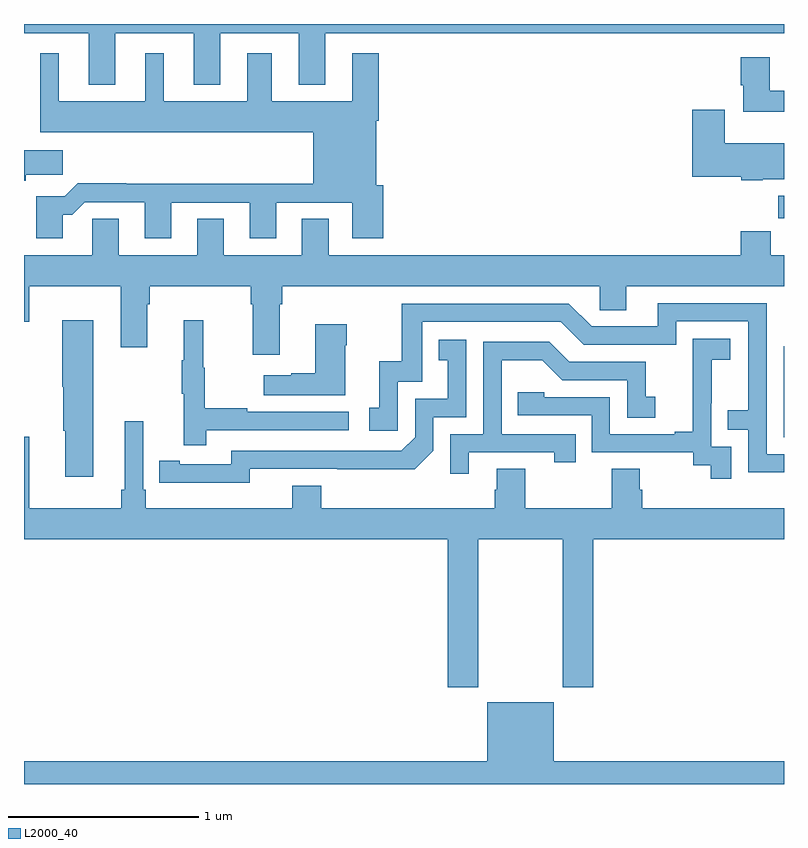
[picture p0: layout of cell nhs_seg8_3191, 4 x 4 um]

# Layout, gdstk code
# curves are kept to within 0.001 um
import gdstk
lib = gdstk.Library(unit=1e-6, precision=1e-09)
def R(c, l, rs):  # rectangles x0, y0, x1, y1
    for r in rs: c.add(gdstk.rectangle(r[:2], r[2:], *l))
def P(c, l, *ps):  # polygons
    for p in ps: c.add(gdstk.Polygon(p, *l))
L2000_40 = (2000, 40)

nhs_seg8_3191 = lib.new_cell('nhs_seg8_3191')
R(nhs_seg8_3191, L2000_40, [(312.999,1095.726,313,1096.203), (312.97,1096.878,313,1096.996)])
P(nhs_seg8_3191, L2000_40, [(309.481,1097.852),(309.893,1097.852),(309.893,1097.579),(310.033,1097.579),(310.033,1097.852),(310.445,1097.852),(310.445,1097.579),(310.585,1097.579),(310.585,1097.852),(313,1097.852),(313,1097.9),(309,1097.9),(309,1097.852),(309.341,1097.852),(309.341,1097.579),(309.481,1097.579)],
  [(309.205,1096.895),(309.254,1096.895),(309.321,1096.962),(309.635,1096.962),(309.635,1096.773),(309.775,1096.773),(309.775,1096.959),(310.187,1096.959),(310.187,1096.773),(310.327,1096.773),(310.327,1096.959),(310.727,1096.959),(310.727,1096.773),(310.892,1096.773),(310.892,1097.052),(310.855,1097.052),(310.855,1097.39),(310.868,1097.39),(310.868,1097.746),(310.727,1097.746),(310.727,1097.494),(310.303,1097.494),(310.303,1097.746),(310.175,1097.746),(310.175,1097.494),(309.736,1097.494),(309.736,1097.746),(309.638,1097.746),(309.638,1097.494),(309.184,1097.494),(309.184,1097.746),(309.086,1097.746),(309.086,1097.33),(310.523,1097.33),(310.523,1097.06),(309.539,1097.06),(309.539,1097.063),(309.284,1097.063),(309.214,1096.993),(309.065,1096.993),(309.065,1096.773),(309.205,1096.773)],
  [(313,1097.548),(312.925,1097.548),(312.925,1097.725),(312.773,1097.725),(312.773,1097.577),(312.785,1097.577),(312.785,1097.438),(313,1097.438)],
  [(312.888,1097.084),(313,1097.084),(313,1097.272),(312.688,1097.272),(312.688,1097.449),(312.518,1097.449),(312.518,1097.096),(312.774,1097.096),(312.774,1097.078),(312.888,1097.078)],
  [(309.01,1097.107),(309.205,1097.107),(309.205,1097.236),(309,1097.236),(309,1097.075),(309.01,1097.075)],
  [(310.345,1096.424),(310.358,1096.424),(310.358,1096.52),(312.03,1096.52),(312.03,1096.393),(312.169,1096.393),(312.169,1096.52),(313,1096.52),(313,1096.684),(312.929,1096.684),(312.929,1096.808),(312.773,1096.808),(312.773,1096.684),(310.603,1096.684),(310.603,1096.874),(310.463,1096.874),(310.463,1096.684),(310.051,1096.684),(310.051,1096.874),(309.911,1096.874),(309.911,1096.684),(309.499,1096.684),(309.499,1096.874),(309.36,1096.874),(309.36,1096.684),(309,1096.684),(309,1096.332),(309.028,1096.332),(309.028,1096.52),(309.509,1096.52),(309.509,1096.2),(309.649,1096.2),(309.649,1096.424),(309.662,1096.424),(309.662,1096.52),(310.193,1096.52),(310.193,1096.424),(310.205,1096.424),(310.205,1096.158),(310.345,1096.158)],
  [(313,1095.636),(312.909,1095.636),(312.909,1096.431),(312.335,1096.431),(312.335,1096.308),(311.988,1096.308),(311.868,1096.428),(310.989,1096.428),(310.989,1096.126),(310.871,1096.126),(310.871,1095.879),(310.818,1095.879),(310.818,1095.759),(310.968,1095.759),(310.968,1096.017),(311.097,1096.017),(311.097,1096.332),(311.826,1096.332),(311.946,1096.212),(312.432,1096.212),(312.432,1096.335),(312.813,1096.335),(312.813,1095.866),(312.703,1095.866),(312.703,1095.765),(312.813,1095.765),(312.813,1095.54),(313,1095.54)],
  [(309.959,1095.762),(310.708,1095.762),(310.708,1095.858),(310.175,1095.858),(310.175,1095.878),(309.952,1095.878),(309.952,1096.092),(309.944,1096.092),(309.944,1096.342),(309.842,1096.342),(309.842,1096.129),(309.831,1096.129),(309.831,1095.955),(309.842,1095.955),(309.842,1095.684),(309.959,1095.684)],
  [(309.364,1096.342),(309.2,1096.342),(309.2,1095.99),(309.206,1095.99),(309.206,1095.759),(309.218,1095.759),(309.218,1095.516),(309.364,1095.516)],
  [(310.69,1096.208),(310.698,1096.208),(310.698,1096.321),(310.532,1096.321),(310.532,1096.061),(310.406,1096.061),(310.406,1096.051),(310.263,1096.051),(310.263,1095.947),(310.69,1095.947)],
  [(312.723,1095.675),(312.618,1095.675),(312.618,1095.905),(312.62,1095.905),(312.62,1096.133),(312.718,1096.133),(312.718,1096.243),(312.52,1096.243),(312.52,1096.037),(312.521,1096.037),(312.521,1095.754),(312.425,1095.754),(312.425,1095.741),(312.084,1095.741),(312.084,1095.936),(311.739,1095.936),(311.739,1095.963),(311.599,1095.963),(311.599,1095.84),(311.988,1095.84),(311.988,1095.645),(312.522,1095.645),(312.522,1095.577),(312.615,1095.577),(312.615,1095.507),(312.723,1095.507)],
  [(310.188,1095.558),(311.056,1095.557),(311.154,1095.654),(311.154,1095.831),(311.328,1095.831),(311.328,1096.237),(311.182,1096.237),(311.182,1096.131),(311.231,1096.131),(311.231,1095.927),(311.058,1095.927),(311.058,1095.726),(310.986,1095.654),(310.092,1095.654),(310.092,1095.582),(309.82,1095.582),(309.82,1095.602),(309.712,1095.602),(309.712,1095.486),(310.188,1095.485)],
  [(311.341,1095.645),(311.792,1095.645),(311.792,1095.594),(311.903,1095.594),(311.903,1095.741),(311.514,1095.741),(311.514,1096.13),(311.728,1096.13),(311.832,1096.026),(312.174,1096.026),(312.174,1095.828),(312.322,1095.828),(312.322,1095.937),(312.273,1095.937),(312.273,1096.122),(311.869,1096.122),(311.764,1096.227),(311.418,1096.227),(311.418,1095.741),(311.244,1095.741),(311.244,1095.534),(311.341,1095.534)],
  [(311.391,1095.188),(311.836,1095.188),(311.836,1094.409),(311.996,1094.409),(311.996,1095.188),(313,1095.188),(313,1095.352),(312.254,1095.352),(312.254,1095.45),(312.241,1095.45),(312.241,1095.56),(312.094,1095.56),(312.094,1095.352),(311.637,1095.352),(311.637,1095.56),(311.489,1095.56),(311.489,1095.45),(311.477,1095.45),(311.477,1095.352),(310.565,1095.352),(310.565,1095.469),(310.412,1095.469),(310.412,1095.352),(309.641,1095.352),(309.641,1095.448),(309.627,1095.448),(309.627,1095.808),(309.53,1095.808),(309.53,1095.448),(309.511,1095.448),(309.511,1095.352),(309.028,1095.352),(309.028,1095.727),(309,1095.727),(309,1095.188),(311.231,1095.188),(311.231,1094.409),(311.391,1094.409)],
  [(313,1094.02),(311.788,1094.02),(311.788,1094.329),(311.438,1094.329),(311.438,1094.02),(309,1094.02),(309,1093.9),(313,1093.9)])

lib.write_gds('nhs_seg8_3191.gds')
